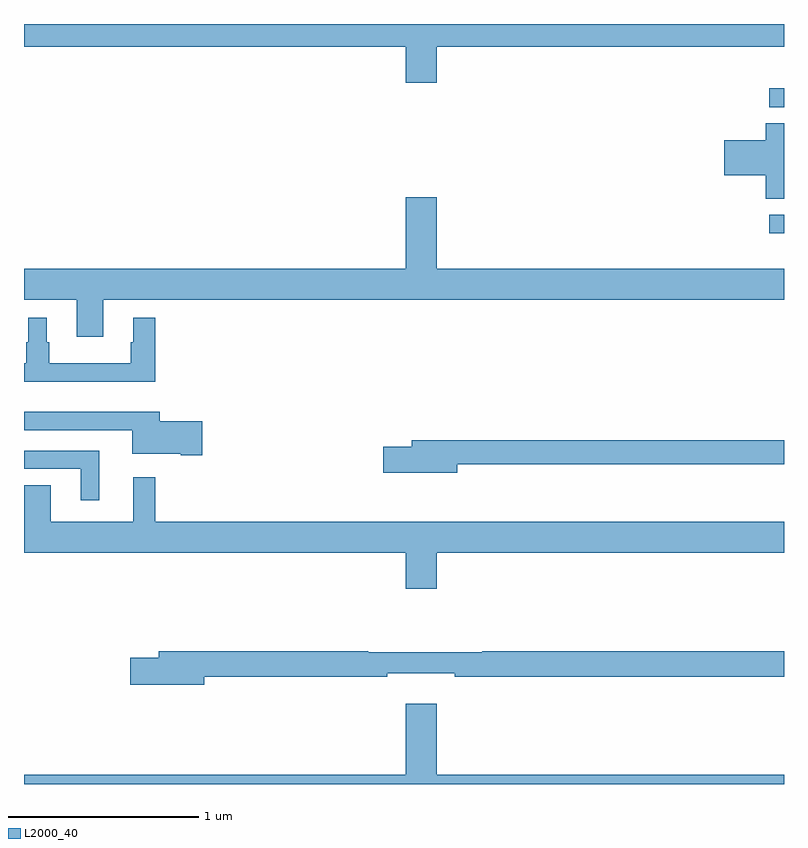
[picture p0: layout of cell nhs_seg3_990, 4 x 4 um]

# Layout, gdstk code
import gdstk
lib = gdstk.Library(unit=1e-6, precision=1e-09)
def R(c, l, rs):  # rectangles x0, y0, x1, y1
    for r in rs: c.add(gdstk.rectangle(r[:2], r[2:], *l))
def P(c, l, *ps):  # polygons
    for p in ps: c.add(gdstk.Polygon(p, *l))
L2000_40 = (2000, 40)

nhs_seg3_990 = lib.new_cell('nhs_seg3_990')
R(nhs_seg3_990, L2000_40, [(166.923,669.3,167,669.396), (166.923,669.963,167,670.062)])
P(nhs_seg3_990, L2000_40, [(165.172,670.28),(167,670.28),(167,670.4),(163,670.4),(163,670.28),(165.008,670.28),(165.008,670.092),(165.172,670.092)],
  [(167,669.878),(166.904,669.878),(166.904,669.788),(166.686,669.788),(166.686,669.605),(166.904,669.605),(166.904,669.481),(167,669.481)],
  [(163.417,668.948),(167,668.948),(167,669.112),(165.172,669.112),(165.172,669.487),(165.008,669.487),(165.008,669.112),(163,669.112),(163,668.948),(163.277,668.948),(163.277,668.754),(163.417,668.754)],
  [(163.691,668.854),(163.574,668.854),(163.574,668.726),(163.563,668.726),(163.563,668.614),(163.132,668.614),(163.132,668.726),(163.12,668.726),(163.12,668.854),(163.022,668.854),(163.022,668.726),(163.011,668.726),(163.011,668.614),(163,668.614),(163,668.516),(163.691,668.516)],
  [(163.939,668.309),(163.714,668.309),(163.714,668.359),(163,668.359),(163,668.262),(163.571,668.262),(163.571,668.138),(163.826,668.138),(163.826,668.131),(163.939,668.131)],
  [(165.28,668.082),(167,668.082),(167,668.21),(165.041,668.21),(165.041,668.174),(164.892,668.174),(164.892,668.039),(165.28,668.039)],
  [(163.397,668.154),(163,668.154),(163,668.058),(163.298,668.058),(163.298,667.893),(163.397,667.893)],
  [(165.172,667.616),(167,667.616),(167,667.78),(163.691,667.78),(163.691,668.014),(163.574,668.014),(163.574,667.78),(163.141,667.78),(163.141,667.973),(163.001,667.973),(163.001,667.78),(163,667.78),(163,667.616),(165.008,667.616),(165.008,667.428),(165.172,667.428)],
  [(163.948,666.964),(164.912,666.964),(164.912,666.983),(165.268,666.983),(165.268,666.964),(167,666.964),(167,667.1),(165.413,667.1),(165.413,667.093),(164.813,667.093),(164.813,667.1),(163.709,667.1),(163.709,667.064),(163.56,667.064),(163.56,666.922),(163.948,666.922)],
  [(167,666.448),(165.172,666.448),(165.172,666.823),(165.008,666.823),(165.008,666.448),(163,666.448),(163,666.4),(167,666.4)])

lib.write_gds('nhs_seg3_990.gds')
